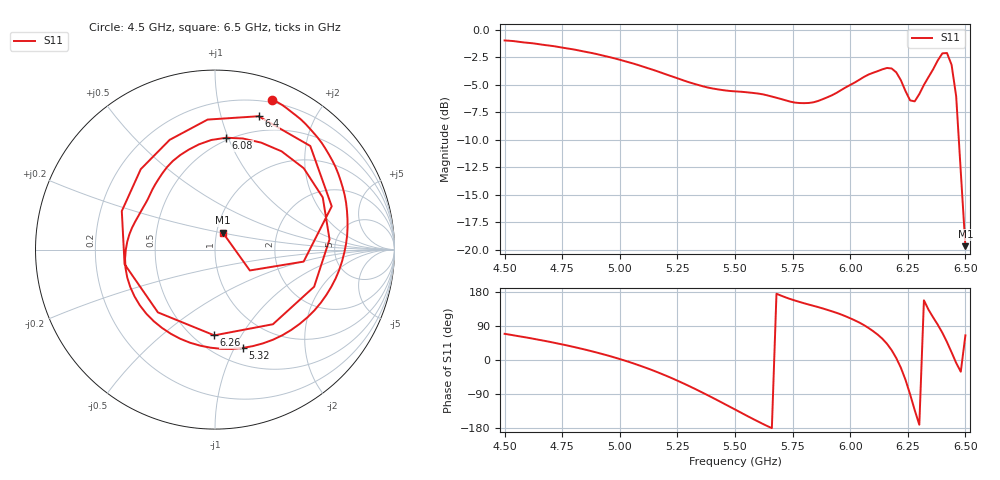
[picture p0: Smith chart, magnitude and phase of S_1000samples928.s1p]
! TOUCHSTONE file generated by CST MICROWAVE STUDIO
! Date and time: Sat Oct 29 20:13:27 2022
! Project name: L.cst
! Parameters = {Di=1.27; Epsilon_r=1.56; InnerDiameter=1.27; Length=2; Lf=10; Lg=60; OuterConductorThickness=0.2921; OuterDiameter=3.6; Wf=3; Wp=41.2; de=1.5; df=6.8; g=0.8; gx=2.31934; gy=1.66569; h=2.34; hf=1.524; px=10.997; py=12.9028; w=9.7; wx=8.67769; wy=11.2371}
! Header version: 2018
! Port assignment regex: !\s*Touchstone port\s*([0-9]+)\s*=\s*(CST MWS port|CST DS port)\s*([0-9]+|Zmin|Zmax)\s*\(\"(.*)\"\)(\s*mode\s*([0-9]+))?.*
! Touchstone port assignment:
! Touchstone port 1 = CST MWS port 1 ("")
# GHz S DB R 50
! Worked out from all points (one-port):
!   101 points, 4.5 GHz to 6.5 GHz, reference 50 ohm
!   lowest |S11| = -19.7 dB at 6.5 GHz (marker M1), VSWR 1.23, Z = 53.6 + j10.2 ohm
!   |S11| at or under -10 dB: 6.47152 GHz to end of sweep
!   S11 on the Smith chart (normalised r, x): 4.5 GHz: 0.17, +1.44; 5.32 GHz: 0.66, -1.08; 6.08 GHz: 0.48, +0.98; 6.26 GHz: 0.62, -0.77; 6.4 GHz: 0.35, +1.32; 6.5 GHz: 1.07, +0.20
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4.5  -0.97 69.1
4.76  -1.65 39.8
5  -2.72 2.5
5.14  -3.61 -26.6
5.26  -4.48 -57.2
5.32  -4.89 -74.4
5.42  -5.40 -105.0
5.5  -5.60 -130.5
5.62  -5.86 -168.4
5.76  -6.62 157.0
6  -5.01 110.1
6.08  -4.06 84.3
6.12  -3.75 66.7
6.16  -3.47 42.5
6.2  -3.87 5.1
6.22  -4.59 -20.5
6.24  -5.57 -52.2
6.26  -6.42 -90.5
6.28  -6.51 -132.3
6.3  -5.84 -170.9
6.32  -5.01 157.5
6.36  -3.59 112.4
6.4  -2.14 71.9
6.42  -2.11 47.4
6.44  -3.18 20.3
6.46  -6.05 -7.7
6.48  -12.91 -30.9
6.5  -19.68 65.2
